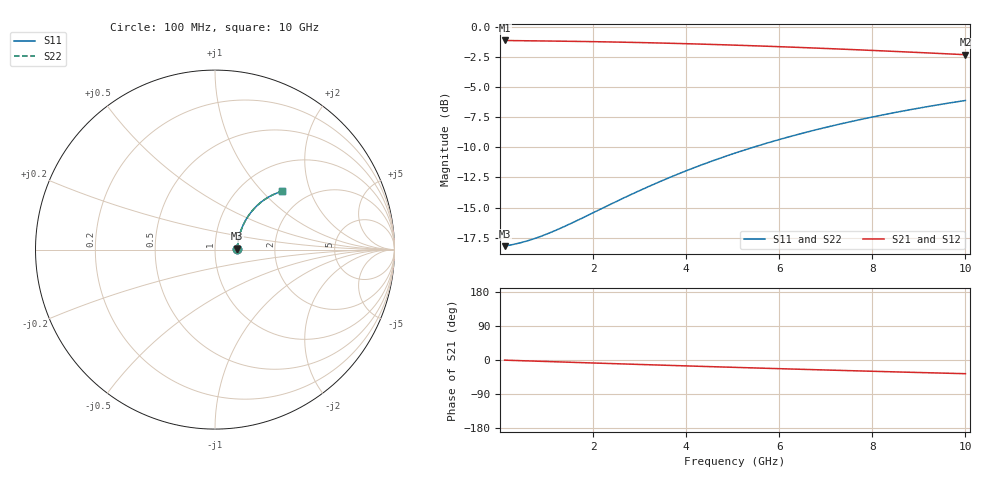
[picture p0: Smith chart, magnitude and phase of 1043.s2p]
# Hz S RI R 50.00
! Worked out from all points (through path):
!   100 points, 100 MHz to 10 GHz, reference 50 ohm
!   highest |S21| = -1.14 dB at 100 MHz (marker M1); lowest = -2.3 dB at 10 GHz (marker M2)
!   group delay of S21, straight-line fit = 10.1 ps
!   lowest |S11| = -18.2 dB at 100 MHz (marker M3), VSWR 1.28, Z = 64 + j0.628 ohm
!   |S11| at or under -10 dB: start of sweep to 5.444 GHz
!   |S22| runs from -18.2 to -6.1 dB; largest |S21 - S12| = 0
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1e8  0.1228 0.00483  0.8772 -0.00608  0.8772 -0.00608  0.1228 0.00483
3e8  0.1243 0.0144  0.8757 -0.0182  0.8757 -0.0182  0.1243 0.0144
5e8  0.1256 0.024  0.8744 -0.0303  0.8744 -0.0303  0.1256 0.024
8e8  0.1277 0.0382  0.8722 -0.0483  0.8722 -0.0483  0.1277 0.0382
1e9  0.1293 0.0477  0.8706 -0.0602  0.8706 -0.0602  0.1293 0.0477
1.2e9  0.1312 0.0571  0.8687 -0.0721  0.8687 -0.0721  0.1312 0.0571
1.5e9  0.1343 0.071  0.8655 -0.0898  0.8655 -0.0898  0.1343 0.071
1.8e9  0.1379 0.0847  0.8618 -0.1073  0.8618 -0.1073  0.1379 0.0847
2.7e9  0.1518 0.1247  0.8476 -0.1585  0.8476 -0.1585  0.1518 0.1247
3.4e9  0.1656 0.154  0.8334 -0.1967  0.8334 -0.1967  0.1656 0.154
3.8e9  0.1745 0.17  0.8242 -0.2177  0.8242 -0.2177  0.1745 0.17
4.2e9  0.1842 0.1854  0.8143 -0.2381  0.8143 -0.2381  0.1842 0.1854
4.6e9  0.1946 0.2001  0.8036 -0.2578  0.8036 -0.2578  0.1946 0.2001
5.1e9  0.2084 0.2174  0.7894 -0.2815  0.7894 -0.2815  0.2084 0.2174
5.5e9  0.2201 0.2305  0.7773 -0.2996  0.7773 -0.2996  0.2201 0.2305
5.9e9  0.2323 0.2428  0.7648 -0.317  0.7648 -0.317  0.2323 0.2428
6.3e9  0.2449 0.2544  0.7517 -0.3336  0.7517 -0.3336  0.2449 0.2544
6.7e9  0.2579 0.2651  0.7383 -0.3495  0.7383 -0.3495  0.2579 0.2651
7.5e9  0.2848 0.2843  0.7104 -0.3789  0.7104 -0.3789  0.2848 0.2843
8.4e9  0.3162 0.3022  0.6778 -0.4082  0.6778 -0.4082  0.3162 0.3022
9.2e9  0.3445 0.3148  0.6483 -0.4312  0.6483 -0.4312  0.3445 0.3148
1e10  0.3729 0.3246  0.6185 -0.4513  0.6185 -0.4513  0.3729 0.3246
